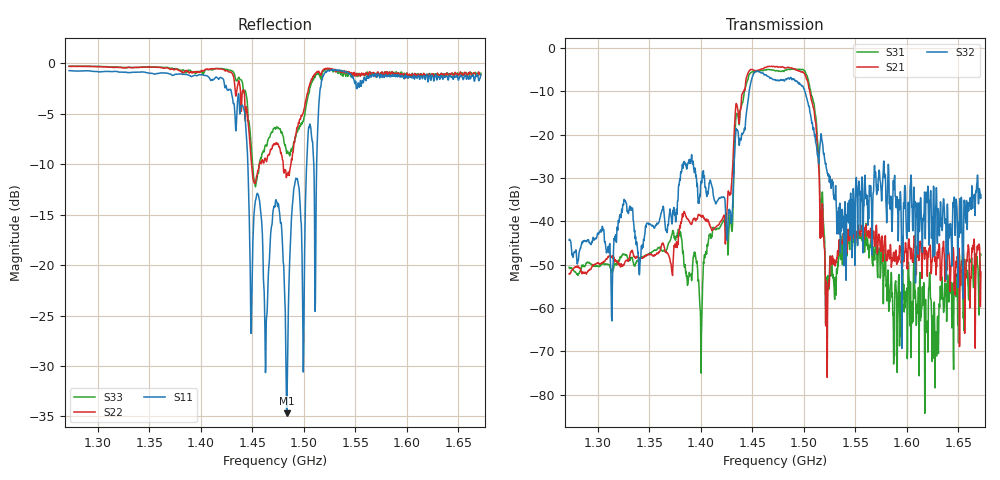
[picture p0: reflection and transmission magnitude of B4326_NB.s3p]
! Matrix data file written by TouchstoneData, EPCOS AG
! FILENAME: "AA74A_NB.s3p"
! COMMENT: "(AA74A_X10Y9_NB.s3p) Epcos AG 11/14/2012 1:5"
! INFO: nport=3, nfreq=1601
! DATE: "Thu Dec  6 15:33:11 2012"
! USER: "Adrian Ma"
! port | pin | signal
!  1  |  1  |  IN
!  2  |  3  |  OUT_BAL
!  3  |  4  |  OUT_BAL
# MHZ S RI R 50
! freq  reS11 imS11  reS12 imS12  reS13 imS13  ...
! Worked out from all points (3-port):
!   1601 points, 1.272 GHz to 1.672 GHz, reference 50 ohm
!   strongest paths, dB at 1.272 GHz, 1.372 GHz, 1.472 GHz, 1.572 GHz, 1.672 GHz:
!     S32: -44.3, -40.6, -7.3, -32.0, -33.9
!     S21: -52.2, -51.6, -4.4, -45.6, -51.7
!     S31: -50.6, -43.0, -5.3, -49.7, -47.8
!   lowest |S11| = -34.7 dB at 1.484 GHz (marker M1), VSWR 1.04, Z = 51.6 + j1.03 ohm
!   |S11| at or under -10 dB: 1.446 GHz to 1.503 GHz (57.17 MHz wide, 3.88 % of centre); 1.509683 GHz to 1.512468 GHz (2.785 MHz wide, 0.184 % of centre)
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1272  -0.5137 -0.7643  -0.00236 0.000699  -0.00289 0.000529
      -0.00237 0.000683  0.3239 -0.9108  -0.006 0.000987
      -0.00291 0.000496  -0.00599 0.00101  0.3296 -0.9104
1379  0.0664 -0.8835  -0.00566 -0.00541  -0.00515 0.00598
      -0.00563 -0.00537  -0.00935 -0.9233  -0.00934 -0.0255
      -0.00512 0.00598  -0.00934 -0.0256  0.01 -0.9293
1400  0.0956 -0.8743  -0.0113 0.00234  -0.000118 0.000254
      -0.0113 0.00232  -0.0913 -0.9128  0.0268 -0.0017
      -0.000134 0.000248  0.0269 -0.00167  -0.0767 -0.9104
1426.5  -0.0834 -0.7308  -0.0188 0.0114  -0.00427 -0.000591
        -0.0188 0.0113  -0.5267 -0.7422  -0.0106 -0.00289
        -0.00424 -0.000601  -0.0106 -0.00293  -0.455 -0.8102
1445.25  -0.3213 -0.1524  -0.0776 -0.4891  0.0265 0.4207
         -0.0761 -0.4884  -0.5059 0.2324  -0.1822 0.1178
         0.0258 0.4211  -0.1823 0.1175  -0.5992 0.1799
1472  0.1912 -0.0348  0.3187 0.5104  -0.2944 -0.4599
      0.3163 0.5112  0.0244 -0.3942  -0.2202 -0.3691
      -0.2925 -0.4602  -0.2218 -0.3694  -0.0401 -0.4762
1483.5  0.0155 0.00996  0.5866 -0.0886  -0.5564 0.0603
        0.5863 -0.0862  -0.2799 0.00861  -0.4238 0.1112
        -0.5562 0.0593  -0.4234 0.1122  -0.3572 0.015
1509.75  0.2898 0.1127  -0.0212 0.1964  0.0319 -0.2288
         -0.0218 0.1956  0.8717 -0.023  0.08 -0.0802
         0.0324 -0.2286  0.0799 -0.0806  0.8426 0.0608
1522.75  0.0956 0.9128  0.000122 -0.000103  -8.72e-05 -0.000976
         0.000117 -0.000106  0.8534 -0.4109  -0.0105 -0.0343
         -0.000108 -0.000978  -0.0106 -0.0344  0.8591 -0.3716
1672  -0.1988 0.8586  0.00205 -0.00163  -0.00116 -0.00394
      0.00206 -0.00159  0.4002 -0.7794  -0.0146 -0.0139
      -0.00114 -0.00392  -0.0146 -0.0139  0.398 -0.8
